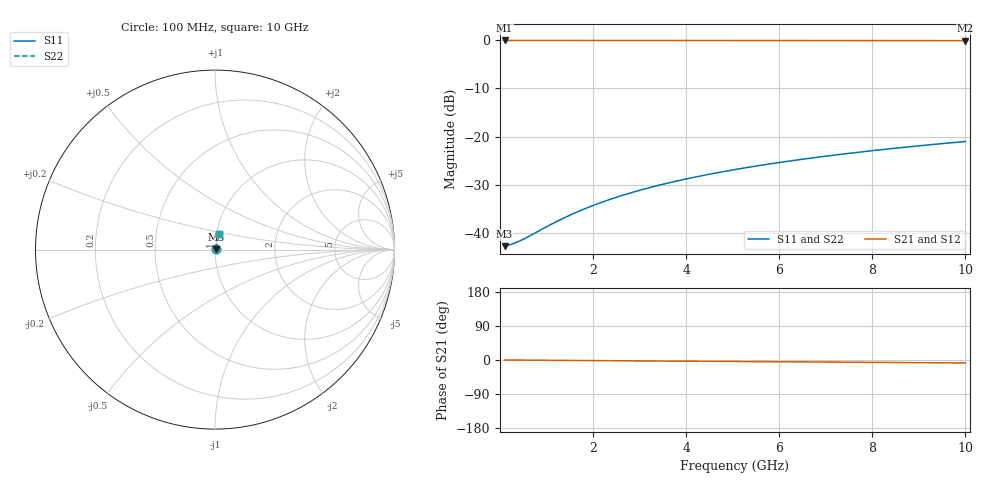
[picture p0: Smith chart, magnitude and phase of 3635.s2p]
# Hz S RI R 50.00
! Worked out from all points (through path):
!   100 points, 100 MHz to 10 GHz, reference 50 ohm
!   highest |S21| = -0.06 dB at 100 MHz (marker M1); lowest = -0.1 dB at 10 GHz (marker M2)
!   group delay of S21, straight-line fit = 2.16 ps
!   lowest |S11| = -42.6 dB at 100 MHz (marker M3), VSWR 1.01, Z = 50.7 + j0.0898 ohm
!   |S11| at or under -10 dB: start of sweep to end of sweep
!   |S22| runs from -42.6 to -21.0 dB; largest |S21 - S12| = 0
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1e8  0.00732 0.000885  0.9927 -0.00135  0.9927 -0.00135  0.00732 0.000885
2e8  0.00738 0.00177  0.9926 -0.00269  0.9926 -0.00269  0.00738 0.00177
3e8  0.00742 0.00265  0.9926 -0.00404  0.9926 -0.00404  0.00742 0.00265
4e8  0.00745 0.00354  0.9925 -0.00538  0.9925 -0.00538  0.00745 0.00354
6e8  0.00752 0.00531  0.9925 -0.00808  0.9925 -0.00808  0.00752 0.00531
1e9  0.00767 0.00884  0.9923 -0.0135  0.9923 -0.0135  0.00767 0.00884
1.3e9  0.00779 0.0115  0.9922 -0.0175  0.9922 -0.0175  0.00779 0.0115
1.5e9  0.00788 0.0133  0.9921 -0.0202  0.9921 -0.0202  0.00788 0.0133
1.8e9  0.00803 0.0159  0.9919 -0.0242  0.9919 -0.0242  0.00803 0.0159
2.1e9  0.0082 0.0186  0.9917 -0.0282  0.9917 -0.0282  0.0082 0.0186
2.5e9  0.00845 0.0221  0.9915 -0.0336  0.9915 -0.0336  0.00845 0.0221
2.9e9  0.00874 0.0256  0.9912 -0.039  0.9912 -0.039  0.00874 0.0256
3.4e9  0.00915 0.03  0.9907 -0.0457  0.9907 -0.0457  0.00915 0.03
3.8e9  0.00952 0.0335  0.9903 -0.0511  0.9903 -0.0511  0.00952 0.0335
4.2e9  0.00993 0.037  0.9899 -0.0564  0.9899 -0.0564  0.00993 0.037
4.6e9  0.0104 0.0405  0.9894 -0.0618  0.9894 -0.0618  0.0104 0.0405
5.1e9  0.011 0.0449  0.9887 -0.0685  0.9887 -0.0685  0.011 0.0449
5.9e9  0.0121 0.0519  0.9875 -0.0791  0.9875 -0.0791  0.0121 0.0519
6.7e9  0.0133 0.0588  0.9862 -0.0898  0.9862 -0.0898  0.0133 0.0588
7.5e9  0.0147 0.0657  0.9847 -0.1004  0.9847 -0.1004  0.0147 0.0657
8.4e9  0.0164 0.0735  0.9828 -0.1123  0.9828 -0.1123  0.0164 0.0735
1e10  0.02 0.0871  0.9789 -0.1334  0.9789 -0.1334  0.02 0.0871
